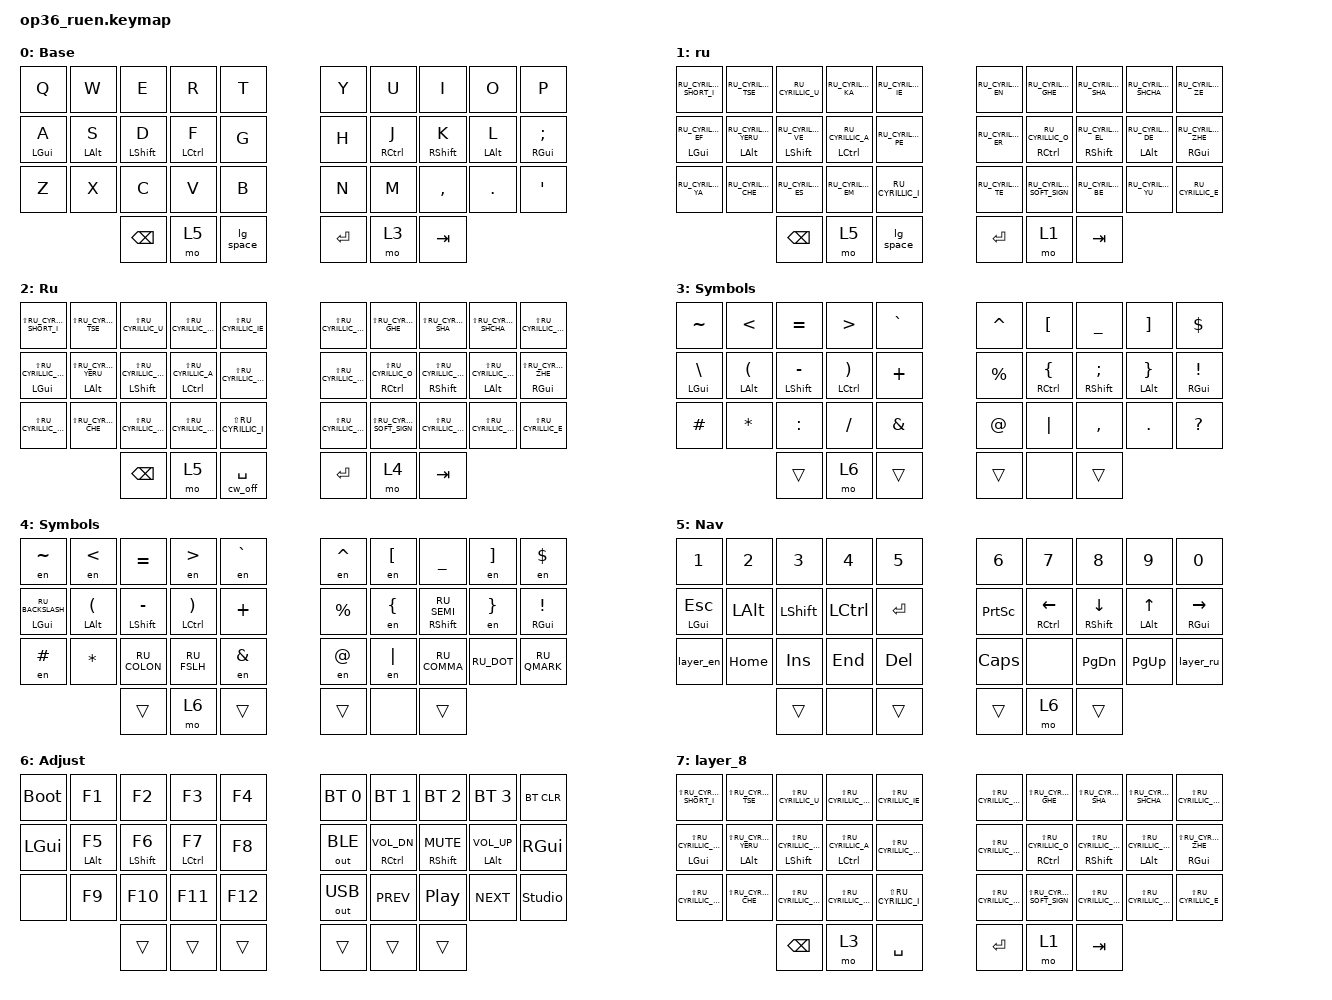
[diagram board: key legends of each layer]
#include "keys_ru.h"
#include "keys_ru.h"
#include <behaviors.dtsi>
#include <dt-bindings/zmk/bt.h>
#include <dt-bindings/zmk/keys.h>
#include <dt-bindings/zmk/outputs.h>

&mt {
    quick-tap-ms = <200>;
    flavor = "tap-preferred";
    require-prior-idle-ms = <125>;
};

/ {
    behaviors {
        hml: home_row_mod_left {
            compatible = "zmk,behavior-hold-tap";
            #binding-cells = <2>;
            flavor = "balanced";
            require-prior-idle-ms = <150>;
            tapping-term-ms = <280>;
            quick-tap-ms = <175>;
            bindings = <&kp>, <&kp>;

            hold-trigger-key-positions = <5 6 7 8 9 15 16 17 18 19 25 26 27 28 29 33 34 35>;
            hold-trigger-on-release;
        };

        hmr: home_row_mod_right {
            compatible = "zmk,behavior-hold-tap";
            #binding-cells = <2>;
            flavor = "balanced";
            require-prior-idle-ms = <150>;
            tapping-term-ms = <280>;
            quick-tap-ms = <175>;
            bindings = <&kp>, <&kp>;

            hold-trigger-key-positions = <0 1 2 3 4 10 11 12 13 14 20 21 22 23 24 30 31 32>;
            hold-trigger-on-release;
        };

        lg_space: lg_space {
            compatible = "zmk,behavior-mod-morph";
            label = "toggle `ru` layer with LGUI";
            bindings = <&kp SPACE>, <&lg_tog>;

            #binding-cells = <0>;
            mods = <(MOD_LGUI)>;
        };
    };

    combos {
        compatible = "zmk,combos";

        kha {
            bindings = <&kp RU_CYRILLIC_HA>;
            key-positions = <6 7>;
        };

        hrdsgn {
            bindings = <&kp RU_CYRILLIC_HARD_SIGN>;
            key-positions = <7 8>;
        };

        cmben {
            bindings = <&layer_en>;
            key-positions = <2 3>;
        };

        cmbru {
            bindings = <&layer_ru>;
            key-positions = <2 3>;
            layers = <0>;
        };

        combo_cw_ru {
            bindings = <&tog 1>;
            key-positions = <22 23>;
            layers = <2 1>;
        };
    };

    macros {
        to_ru: to_ru {
            compatible = "zmk,behavior-macro";
            #binding-cells = <0>;
            bindings = <&kp LS(LC(N2))>;
            label = "TO_RU";
            wait-ms = <0>;
            tap-ms = <30>;
        };

        to_en: to_en {
            compatible = "zmk,behavior-macro";
            #binding-cells = <0>;
            bindings = <&kp LS(LC(N1))>;
            label = "TO_EN";
            wait-ms = <0>;
            tap-ms = <30>;
        };

        layer_en: layer_en {
            compatible = "zmk,behavior-macro";
            #binding-cells = <0>;
            bindings = <&to 0 &to_en>;
            label = "LAYER_EN";
            wait-ms = <0>;
            tap-ms = <30>;
        };

        layer_ru: layer_ru {
            compatible = "zmk,behavior-macro";
            #binding-cells = <0>;
            bindings = <&to 0 &to_ru>;
            label = "LAYER_RU";
            tap-ms = <30>;
            wait-ms = <0>;
        };

        en: en {
            compatible = "zmk,behavior-macro-one-param";
            #binding-cells = <1>;
            bindings =
                <&to_en>,
                <&macro_press>,
                <&macro_param_1to1 &kp MACRO_PLACEHOLDER>,
                <&macro_pause_for_release>,
                <&macro_release>,
                <&macro_param_1to1 &kp MACRO_PLACEHOLDER>,
                <&macro_tap>,
                <&to_ru>;

            label = "EN";
            wait-ms = <0>;
            tap-ms = <30>;
        };

        lg_tog: lg_tog {
            compatible = "zmk,behavior-macro";
            #binding-cells = <0>;
            bindings = <&kp LG(SPACE) &tog 0>;
            label = "LG_TOG";
        };

        cw_off: cw_off {
            compatible = "zmk,behavior-macro-one-param";
            #binding-cells = <1>;
            bindings = <&to 2 &macro_param_1to1 &kp MACRO_PLACEHOLDER>;
            label = "CW_OFF";
        };

        cw_off_en: cw_off_en {
            compatible = "zmk,behavior-macro-one-param";
            #binding-cells = <1>;
            bindings = <&to 0 &macro_param_1to1 &kp MACRO_PLACEHOLDER>;
            label = "CW_OFF_EN";
        };
    };

    keymap {
        compatible = "zmk,keymap";

        en {
            bindings = <
  &kp Q        &kp W        &kp E         &kp R          &kp T                          &kp Y  &kp U         &kp I         &kp O        &kp P
  &hml LGUI A  &hml LALT S  &hml LSHFT D  &hml LCTRL F   &kp G                          &kp H  &hmr RCTRL J  &hmr RSHFT K  &hmr LALT L  &hmr RGUI SEMICOLON
  &kp Z        &kp X        &kp C         &kp V          &kp B                          &kp N  &kp M         &kp COMMA     &kp DOT      &kp SQT
                                          &kp BACKSPACE  &mo 5  &lg_space    &kp ENTER  &mo 3  &kp TAB
            >;

            display-name = "Base";
        };

        ru {
            bindings = <
  &kp RU_CYRILLIC_SHORT_I   &kp RU_CYRILLIC_TSE         &kp RU_CYRILLIC_U          &kp RU_CYRILLIC_KA        &kp RU_CYRILLIC_IE                          &kp RU_CYRILLIC_EN  &kp RU_CYRILLIC_GHE        &kp RU_CYRILLIC_SHA        &kp RU_CYRILLIC_SHCHA     &kp RU_CYRILLIC_ZE
  &hml LGUI RU_CYRILLIC_EF  &hml LALT RU_CYRILLIC_YERU  &hml LSHFT RU_CYRILLIC_VE  &hml LCTRL RU_CYRILLIC_A  &kp RU_CYRILLIC_PE                          &kp RU_CYRILLIC_ER  &hmr RCTRL RU_CYRILLIC_O   &hmr RSHFT RU_CYRILLIC_EL  &hmr LALT RU_CYRILLIC_DE  &hmr RGUI RU_CYRILLIC_ZHE
  &kp RU_CYRILLIC_YA        &kp RU_CYRILLIC_CHE         &kp RU_CYRILLIC_ES         &kp RU_CYRILLIC_EM        &kp RU_CYRILLIC_I                           &kp RU_CYRILLIC_TE  &kp RU_CYRILLIC_SOFT_SIGN  &kp RU_CYRILLIC_BE         &kp RU_CYRILLIC_YU        &kp RU_CYRILLIC_E
                                                                                   &kp BACKSPACE             &mo 5               &lg_space    &kp ENTER  &mo 1               &kp TAB
            >;
        };

        cw_ru {
            bindings = <
  &kp LS(RU_CYRILLIC_SHORT_I)   &kp LS(RU_CYRILLIC_TSE)         &kp LS(RU_CYRILLIC_U)          &kp LS(RU_CYRILLIC_KA)        &kp LS(RU_CYRILLIC_IE)                              &kp LS(RU_CYRILLIC_EN)  &kp LS(RU_CYRILLIC_GHE)        &kp LS(RU_CYRILLIC_SHA)        &kp LS(RU_CYRILLIC_SHCHA)     &kp LS(RU_CYRILLIC_ZE)
  &hml LGUI LS(RU_CYRILLIC_EF)  &hml LALT LS(RU_CYRILLIC_YERU)  &hml LSHFT LS(RU_CYRILLIC_VE)  &hml LCTRL LS(RU_CYRILLIC_A)  &kp LS(RU_CYRILLIC_PE)                              &kp LS(RU_CYRILLIC_ER)  &hmr RCTRL LS(RU_CYRILLIC_O)   &hmr RSHFT LS(RU_CYRILLIC_EL)  &hmr LALT LS(RU_CYRILLIC_DE)  &hmr RGUI LS(RU_CYRILLIC_ZHE)
  &kp LS(RU_CYRILLIC_YA)        &kp LS(RU_CYRILLIC_CHE)         &kp LS(RU_CYRILLIC_ES)         &kp LS(RU_CYRILLIC_EM)        &kp LS(RU_CYRILLIC_I)                               &kp LS(RU_CYRILLIC_TE)  &kp LS(RU_CYRILLIC_SOFT_SIGN)  &kp LS(RU_CYRILLIC_BE)         &kp LS(RU_CYRILLIC_YU)        &kp LS(RU_CYRILLIC_E)
                                                                                               &kp BACKSPACE                 &mo 5                   &cw_off SPACE    &kp ENTER  &mo 4                   &kp TAB
            >;

            display-name = "Ru";
        };

        sym_en {
            bindings = <
  &kp TILDE       &kp LT          &kp EQUAL         &kp GT           &kp GRAVE                    &kp CARET  &kp LBKT         &kp UNDER        &kp RBKT        &kp DLLR
  &hml LGUI BSLH  &hml LALT LPAR  &hml LSHFT MINUS  &hml LCTRL RPAR  &kp PLUS                     &kp PRCNT  &hmr RCTRL LBRC  &hmr RSHFT SEMI  &hmr LALT RBRC  &hmr RGUI EXCL
  &kp HASH        &kp STAR        &kp COLON         &kp FSLH         &kp AMPS                     &kp AT     &kp PIPE         &kp COMMA        &kp DOT         &kp QMARK
                                                    &trans           &mo 6      &trans    &trans  &none      &trans
            >;

            display-name = "Symbols";
        };

        sym_ru {
            bindings = <
  &en TILDE               &en LT          &kp EQUAL         &en GT           &en GRAVE                    &en CARET  &en LBKT  &kp UNDER           &en RBKT    &en DLLR
  &hml LGUI RU_BACKSLASH  &hml LALT LPAR  &hml LSHFT MINUS  &hml LCTRL RPAR  &kp PLUS                     &kp PRCNT  &en LBRC  &hmr RSHFT RU_SEMI  &en RBRC    &hmr RGUI EXCL
  &en HASH                &kp STAR        &kp RU_COLON      &kp RU_FSLH      &en AMPS                     &en AT     &en PIPE  &kp RU_COMMA        &kp RU_DOT  &kp RU_QMARK
                                                            &trans           &mo 6      &trans    &trans  &none      &trans
            >;

            display-name = "Symbols";
        };

        nav {
            bindings = <
  &kp N1         &kp N2    &kp N3     &kp N4     &kp N5                        &kp N6           &kp N7           &kp N8           &kp N9        &kp N0
  &hml LGUI ESC  &kp LALT  &kp LSHFT  &kp LCTRL  &kp ENTER                     &kp PRINTSCREEN  &hmr RCTRL LEFT  &hmr RSHFT DOWN  &hmr LALT UP  &hmr RGUI RIGHT
  &layer_en      &kp HOME  &kp INS    &kp END    &kp DELETE                    &kp CAPS         &none            &kp PG_DN        &kp PG_UP     &layer_ru
                                      &trans     &none       &trans    &trans  &mo 6            &trans
            >;

            display-name = "Nav";
        };

        adj {
            bindings = <
  &bootloader  &kp F1        &kp F2         &kp F3         &kp F4                     &bt BT_SEL 0  &bt BT_SEL 1         &bt BT_SEL 2       &bt BT_SEL 3        &bt BT_CLR
  &kp LGUI     &hml LALT F5  &hml LSHFT F6  &hml LCTRL F7  &kp F8                     &out OUT_BLE  &hmr RCTRL C_VOL_DN  &hmr RSHFT C_MUTE  &hmr LALT C_VOL_UP  &kp RGUI
  &none        &kp F9        &kp F10        &kp F11        &kp F12                    &out OUT_USB  &kp C_PREV           &kp C_PP           &kp C_NEXT          &studio_unlock
                                            &trans         &trans   &trans    &trans  &trans        &trans
            >;

            display-name = "Adjust";
        };

        layer_8 {
            bindings = <
  &kp LS(RU_CYRILLIC_SHORT_I)   &kp LS(RU_CYRILLIC_TSE)         &kp LS(RU_CYRILLIC_U)          &kp LS(RU_CYRILLIC_KA)        &kp LS(RU_CYRILLIC_IE)                          &kp LS(RU_CYRILLIC_EN)  &kp LS(RU_CYRILLIC_GHE)        &kp LS(RU_CYRILLIC_SHA)        &kp LS(RU_CYRILLIC_SHCHA)     &kp LS(RU_CYRILLIC_ZE)
  &hml LGUI LS(RU_CYRILLIC_EF)  &hml LALT LS(RU_CYRILLIC_YERU)  &hml LSHFT LS(RU_CYRILLIC_VE)  &hml LCTRL LS(RU_CYRILLIC_A)  &kp LS(RU_CYRILLIC_PE)                          &kp LS(RU_CYRILLIC_ER)  &hmr RCTRL LS(RU_CYRILLIC_O)   &hmr RSHFT LS(RU_CYRILLIC_EL)  &hmr LALT LS(RU_CYRILLIC_DE)  &hmr RGUI LS(RU_CYRILLIC_ZHE)
  &kp LS(RU_CYRILLIC_YA)        &kp LS(RU_CYRILLIC_CHE)         &kp LS(RU_CYRILLIC_ES)         &kp LS(RU_CYRILLIC_EM)        &kp LS(RU_CYRILLIC_I)                           &kp LS(RU_CYRILLIC_TE)  &kp LS(RU_CYRILLIC_SOFT_SIGN)  &kp LS(RU_CYRILLIC_BE)         &kp LS(RU_CYRILLIC_YU)        &kp LS(RU_CYRILLIC_E)
                                                                                               &kp BACKSPACE                 &mo 3                   &kp SPACE    &kp ENTER  &mo 1                   &kp TAB
            >;
        };
    };
};
